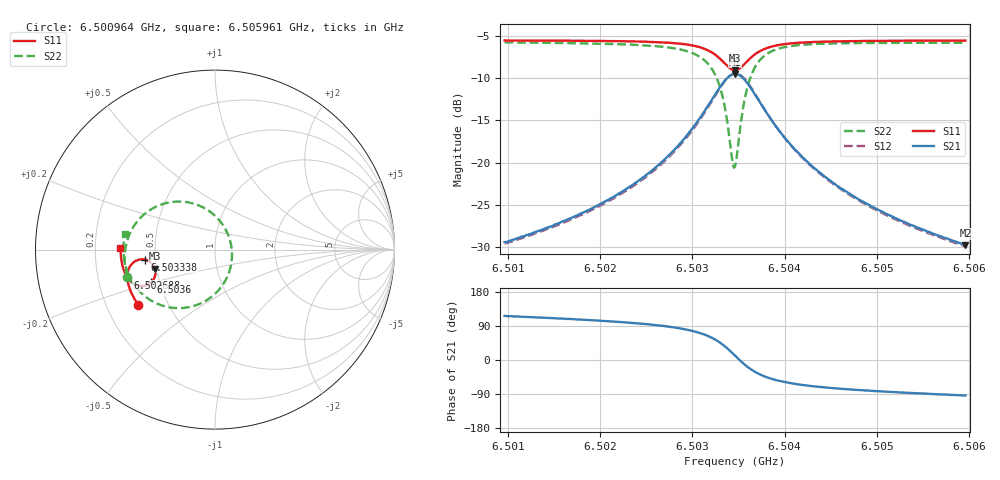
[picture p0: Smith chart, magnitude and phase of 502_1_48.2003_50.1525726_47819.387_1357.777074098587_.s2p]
#  HZ  S  RI  R  50.00
! Rohde & Schwarz Vector Network Analyzer
! Rohde-Schwarz,ZNB20-2Port,1311601062101988,3.16
! Created: UTC 3/20/2024, 11:58:36 AM
! freq[Hz]  re:S11  im:S11  re:S21  im:S21  re:S12  im:S12  re:S22  im:S22
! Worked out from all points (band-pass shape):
!   401 points, 6.500964 GHz to 6.505961 GHz, reference 50 ohm
!   highest |S21| = -9.53 dB at 6.503462 GHz (marker M1); lowest = -29.8 dB at 6.505961 GHz (marker M2)
!   |S21| within 3 dB of the highest: 6.503214 GHz to 6.503712 GHz (499 kHz wide, 0.00767 % of centre)
!   lowest |S11| = -9.1 dB at 6.503462 GHz (marker M3), VSWR 2.08, Z = 24.4 - j5.91 ohm
!   |S11| at or under -10 dB: nowhere
!   |S22| runs from -20.6 to -5.8 dB; largest |S21 - S12| = 0.011
!   S11 on the Smith chart (normalised r, x): 6.500964 GHz: 0.34, -0.29; 6.502688 GHz: 0.33, -0.14; 6.503338 GHz: 0.44, -0.06; 6.5036 GHz: 0.45, -0.19; 6.505961 GHz: 0.31, +0.01
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6.5009642e9  -0.4266 -0.3098  -0.015 0.0303  -0.0132 0.0304  -0.4899 -0.1541
6.5018011e9  -0.4626 -0.2478  -0.0141 0.0481  -0.0119 0.0476  -0.5028 -0.0651
6.5022508e9  -0.4785 -0.2078  -0.0114 0.0669  -0.00859 0.066  -0.5 -0.00123
6.5026381e9  -0.4877 -0.1649  -0.00224 0.0972  0.00127 0.095  -0.4801 0.0762
6.502688e9  -0.4882 -0.1584  0.000305 0.1029  0.00381 0.1005  -0.4747 0.0889
6.5029503e9  -0.4841 -0.117  0.0266 0.1442  0.03 0.14  -0.4201 0.1718
6.5031377e9  -0.4625 -0.0787  0.0813 0.1869  0.0833 0.181  -0.3158 0.2448
6.5032501e9  -0.4295 -0.0579  0.1511 0.2045  0.1515 0.1988  -0.19 0.2675
6.5033376e9  -0.3883 -0.0561  0.2316 0.188  0.2316 0.1839  -0.0512 0.2267
6.503425e9  -0.3459 -0.0844  0.3094 0.1152  0.3116 0.1115  0.0729 0.083
6.50345e9  -0.3378 -0.0984  0.3229 0.0837  0.3259 0.0794  0.0902 0.024
6.5034625e9  -0.335 -0.1059  0.3271 0.0671  0.3307 0.0623  0.0942 -0.007
6.5034875e9  -0.3319 -0.122  0.3308 0.0328  0.3348 0.0268  0.0922 -0.0695
6.5035249e9  -0.3339 -0.1457  0.3238 -0.0168  0.3274 -0.0249  0.0657 -0.1573
6.5035999e9  -0.3558 -0.1824  0.2781 -0.0926  0.2784 -0.1033  -0.0421 -0.2795
6.5037123e9  -0.401 -0.2023  0.1923 -0.1377  0.1875 -0.147  -0.2159 -0.3257
6.5038747e9  -0.4477 -0.1928  0.1093 -0.1342  0.1028 -0.1392  -0.3651 -0.2782
6.5040496e9  -0.4754 -0.1713  0.0643 -0.1136  0.0584 -0.1158  -0.4379 -0.2124
6.5042994e9  -0.4963 -0.1414  0.034 -0.0888  0.0295 -0.0893  -0.4815 -0.1395
6.5046741e9  -0.512 -0.1021  0.015 -0.0652  0.0118 -0.065  -0.5039 -0.0644
6.5051363e9  -0.5215 -0.0591  0.00508 -0.0486  0.003 -0.0478  -0.5103 0.00135
6.5059607e9  -0.5265 0.0109  -0.0021 -0.0324  -0.00331 -0.0318  -0.5026 0.089
